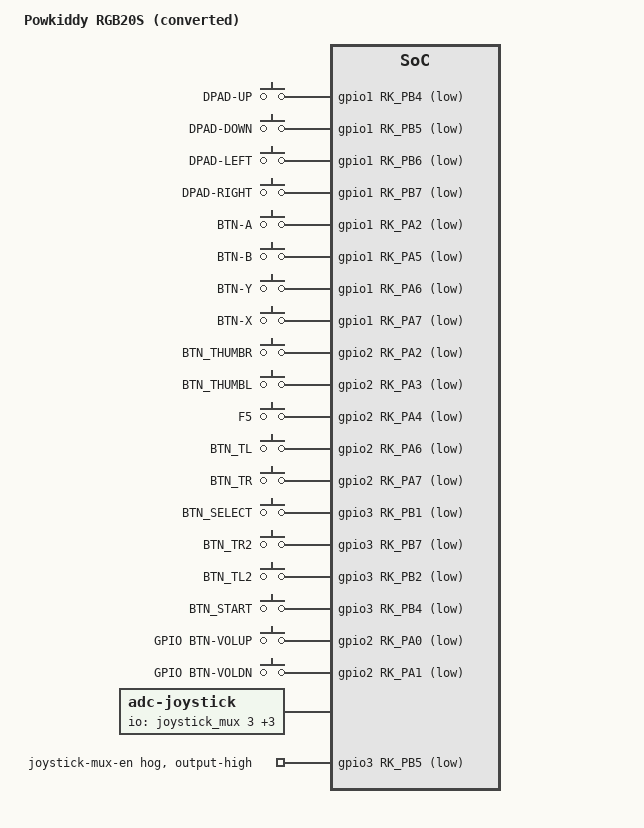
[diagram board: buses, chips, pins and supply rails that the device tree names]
// SPDX-License-Identifier: (GPL-2.0+ OR MIT)
/*
 * Powkiddy RGB20S , converted from a vendor RK3326 device tree by
 * `r36os dtb import` (boot-dtb-select D12). Do not edit: import again.
 * Source: arkos4clone/boot/dArkOS/consoles/rgb20s/rk3326-rgb20s-linux.dtb
 * SHA-256: 9d487e24bba08dfe40e08b0619bd8da37357f8ab2ad9b420f81f10fd776ead1a
 * Note: sticks: axes from the ROCKNIX joypad mapping, not measured
 * Note: speaker gain: source spk-volume 3 ignored, the native safe value is used
 */

#include "rk3326-r36s-v5.dts"

/ {
	model = "Powkiddy RGB20S  (converted)";

	lume-select {
		lume,id = "arkos4clone-rgb20s";
		lume,priority = <0>;
		/delete-property/ lume,default;
	};

	/delete-node/ gpio-keys;
	/delete-node/ volume-keys;

	gpio-keys {
		compatible = "gpio-keys";
		pinctrl-names = "default";
		pinctrl-0 = <&btn_pins>;

		button-dpad-up {
			gpios = <&gpio1 RK_PB4 GPIO_ACTIVE_LOW>;
			label = "DPAD-UP";
			linux,code = <0x220>;
		};

		button-dpad-down {
			gpios = <&gpio1 RK_PB5 GPIO_ACTIVE_LOW>;
			label = "DPAD-DOWN";
			linux,code = <0x221>;
		};

		button-dpad-left {
			gpios = <&gpio1 RK_PB6 GPIO_ACTIVE_LOW>;
			label = "DPAD-LEFT";
			linux,code = <0x222>;
		};

		button-dpad-right {
			gpios = <&gpio1 RK_PB7 GPIO_ACTIVE_LOW>;
			label = "DPAD-RIGHT";
			linux,code = <0x223>;
		};

		button-btn-a {
			gpios = <&gpio1 RK_PA2 GPIO_ACTIVE_LOW>;
			label = "BTN-A";
			linux,code = <0x131>;
		};

		button-btn-b {
			gpios = <&gpio1 RK_PA5 GPIO_ACTIVE_LOW>;
			label = "BTN-B";
			linux,code = <0x130>;
		};

		button-btn-y {
			gpios = <&gpio1 RK_PA6 GPIO_ACTIVE_LOW>;
			label = "BTN-Y";
			linux,code = <0x134>;
		};

		button-btn-x {
			gpios = <&gpio1 RK_PA7 GPIO_ACTIVE_LOW>;
			label = "BTN-X";
			linux,code = <0x133>;
		};

		button-btn-thumbr {
			gpios = <&gpio2 RK_PA2 GPIO_ACTIVE_LOW>;
			label = "BTN_THUMBR";
			linux,code = <0x2c2>;
		};

		button-btn-thumbl {
			gpios = <&gpio2 RK_PA3 GPIO_ACTIVE_LOW>;
			label = "BTN_THUMBL";
			linux,code = <0x2c3>;
		};

		button-f5 {
			gpios = <&gpio2 RK_PA4 GPIO_ACTIVE_LOW>;
			label = "F5";
			linux,code = <0x2c4>;
		};

		button-btn-tl {
			gpios = <&gpio2 RK_PA6 GPIO_ACTIVE_LOW>;
			label = "BTN_TL";
			linux,code = <0x136>;
		};

		button-btn-tr {
			gpios = <&gpio2 RK_PA7 GPIO_ACTIVE_LOW>;
			label = "BTN_TR";
			linux,code = <0x137>;
		};

		button-btn-select {
			gpios = <&gpio3 RK_PB1 GPIO_ACTIVE_LOW>;
			label = "BTN_SELECT";
			linux,code = <0x2c0>;
		};

		button-btn-tr2 {
			gpios = <&gpio3 RK_PB7 GPIO_ACTIVE_LOW>;
			label = "BTN_TR2";
			linux,code = <0x139>;
		};

		button-btn-tl2 {
			gpios = <&gpio3 RK_PB2 GPIO_ACTIVE_LOW>;
			label = "BTN_TL2";
			linux,code = <0x138>;
		};

		button-btn-start {
			gpios = <&gpio3 RK_PB4 GPIO_ACTIVE_LOW>;
			label = "BTN_START";
			linux,code = <0x2c1>;
		};
	};

	volume-keys {
		compatible = "gpio-keys";
		pinctrl-names = "default";
		pinctrl-0 = <&vol_pins>;
		autorepeat;

		button-gpio-btn-volup {
			gpios = <&gpio2 RK_PA0 GPIO_ACTIVE_LOW>;
			label = "GPIO BTN-VOLUP";
			linux,code = <0x73>;
		};

		button-gpio-btn-voldn {
			gpios = <&gpio2 RK_PA1 GPIO_ACTIVE_LOW>;
			label = "GPIO BTN-VOLDN";
			linux,code = <0x72>;
		};
	};

	/delete-node/ adc-joystick;

	adc-joystick {
		compatible = "adc-joystick";
		io-channels = <&joystick_mux 3>,
			      <&joystick_mux 1>,
			      <&joystick_mux 2>,
			      <&joystick_mux 0>;
		poll-interval = <10>;
		#address-cells = <1>;
		#size-cells = <0>;

		axis@0 {
			reg = <0>;
			abs-flat = <32>;
			abs-fuzz = <32>;
			abs-range = <0 1023>;
			linux,code = <ABS_RY>;
		};

		axis@1 {
			reg = <1>;
			abs-flat = <32>;
			abs-fuzz = <32>;
			abs-range = <0 1023>;
			linux,code = <ABS_RX>;
		};

		axis@2 {
			reg = <2>;
			abs-flat = <32>;
			abs-fuzz = <32>;
			abs-range = <1023 0>;
			linux,code = <ABS_Y>;
		};

		axis@3 {
			reg = <3>;
			abs-flat = <32>;
			abs-fuzz = <32>;
			abs-range = <1023 0>;
			linux,code = <ABS_X>;
		};
	};

	mux-controller {
		mux-gpios = <&gpio3 RK_PB3 GPIO_ACTIVE_LOW>,
			    <&gpio3 RK_PB0 GPIO_ACTIVE_LOW>;
	};

	adc-mux {
		io-channels = <&saradc 1>;
	};

	/delete-node/ gpio-leds;

	rk817-sound {
		simple-audio-card,hp-det-gpios = <&gpio2 RK_PC6 GPIO_ACTIVE_LOW>;
	};
};

&internal_display {
	compatible = "rocknix,generic-dsi";
	/delete-property/ vcc-supply;
	vdd-supply = <&vcc_lcd>;
	reset-gpios = <&gpio3 RK_PC0 GPIO_ACTIVE_LOW>;
	panel_description =
		"G size=52,70 delays=2,1,20,120,20 format=rgb888 lanes=4 flags=0xe03",
		"M clock=50000 horizontal=640,450,46,450 vertical=480,17,5,13 default=1",
		"I seq=ff30",
		"I seq=ff52",
		"I seq=ff01",
		"I seq=e300",
		"I seq=400a",
		"I seq=0340",
		"I seq=0400",
		"I seq=0503",
		"I seq=2412",
		"I seq=251e",
		"I seq=2628",
		"I seq=2752",
		"I seq=2857",
		"I seq=2901",
		"I seq=2adf",
		"I seq=389c",
		"I seq=39a7",
		"I seq=3a53",
		"I seq=4400",
		"I seq=493c",
		"I seq=59fe",
		"I seq=5c00",
		"I seq=9177",
		"I seq=9277",
		"I seq=a055",
		"I seq=a150",
		"I seq=a49c",
		"I seq=a702",
		"I seq=a801",
		"I seq=a901",
		"I seq=aafc",
		"I seq=ab28",
		"I seq=ac06",
		"I seq=ad06",
		"I seq=ae06",
		"I seq=af03",
		"I seq=b008",
		"I seq=b126",
		"I seq=b228",
		"I seq=b328",
		"I seq=b433",
		"I seq=b508",
		"I seq=b626",
		"I seq=b708",
		"I seq=b826",
		"I seq=ff30 # 2",
		"I seq=ff52 # 2",
		"I seq=ff02",
		"I seq=b00b",
		"I seq=b116",
		"I seq=b217",
		"I seq=b32c",
		"I seq=b432",
		"I seq=b53b",
		"I seq=b629",
		"I seq=b740",
		"I seq=b80d",
		"I seq=b905",
		"I seq=ba12",
		"I seq=bb10",
		"I seq=bc12",
		"I seq=bd15",
		"I seq=be19",
		"I seq=bf0e",
		"I seq=c016",
		"I seq=c10a",
		"I seq=d00c",
		"I seq=d117",
		"I seq=d214",
		"I seq=d32e",
		"I seq=d432",
		"I seq=d53c",
		"I seq=d622",
		"I seq=d73d",
		"I seq=d80d",
		"I seq=d907",
		"I seq=da13",
		"I seq=db13",
		"I seq=dc11",
		"I seq=dd15",
		"I seq=de19",
		"I seq=df10",
		"I seq=e017",
		"I seq=e10a",
		"I seq=ff30 # 3",
		"I seq=ff52 # 3",
		"I seq=ff03",
		"I seq=002a",
		"I seq=012a",
		"I seq=022a",
		"I seq=032a",
		"I seq=0461",
		"I seq=0580",
		"I seq=06c7",
		"I seq=0701",
		"I seq=0882",
		"I seq=0983",
		"I seq=302a",
		"I seq=312a",
		"I seq=322a",
		"I seq=332a",
		"I seq=3461",
		"I seq=35c5",
		"I seq=3680",
		"I seq=3723",
		"I seq=4082",
		"I seq=4183",
		"I seq=4280",
		"I seq=4381",
		"I seq=4411",
		"I seq=45e6",
		"I seq=46e5",
		"I seq=4711",
		"I seq=48e8",
		"I seq=49e7",
		"I seq=5002",
		"I seq=5101",
		"I seq=5204",
		"I seq=5303",
		"I seq=5411",
		"I seq=55ea",
		"I seq=56e9",
		"I seq=5711",
		"I seq=58ec",
		"I seq=59eb",
		"I seq=7e02",
		"I seq=7f80",
		"I seq=e05a",
		"I seq=b100",
		"I seq=b40e",
		"I seq=b50f",
		"I seq=b604",
		"I seq=b707",
		"I seq=b806",
		"I seq=b905 # 2",
		"I seq=ba0f",
		"I seq=c700",
		"I seq=ca0e",
		"I seq=cb0f",
		"I seq=cc04",
		"I seq=cd07",
		"I seq=ce06",
		"I seq=cf05",
		"I seq=d00f",
		"I seq=810f",
		"I seq=840e",
		"I seq=850f",
		"I seq=8607",
		"I seq=8704",
		"I seq=8805",
		"I seq=8906",
		"I seq=8a00",
		"I seq=970f",
		"I seq=9a0e",
		"I seq=9b0f",
		"I seq=9c07",
		"I seq=9d04",
		"I seq=9e05",
		"I seq=9f06",
		"I seq=a000",
		"I seq=ff30 # 4",
		"I seq=ff52 # 4",
		"I seq=ff02 # 2",
		"I seq=0101",
		"I seq=02da",
		"I seq=03ba",
		"I seq=04a8",
		"I seq=059a",
		"I seq=0670",
		"I seq=07ff",
		"I seq=0891",
		"I seq=0990",
		"I seq=0aff",
		"I seq=0b8f",
		"I seq=0c60",
		"I seq=0d58",
		"I seq=0e48",
		"I seq=0f38",
		"I seq=102b",
		"I seq=ff30 # 5",
		"I seq=ff52 # 5",
		"I seq=ff00",
		"I seq=3602",
		"I seq=3a70",
		"I seq=11 wait=c8",
		"I seq=29 wait=a";
};

&dsi {
	rockchip,lane-rate = <333>;
};

&backlight {
	pwms = <&pwm1 0 40000 0>;
	/delete-property/ num-interpolated-steps;
	brightness-levels = <0 1 2 3 4 5 6 7 8 9 10 11 12 13 14 15 16 17 18 19 20 21 22 23 24 25 26 27 28 29 30 31 32 33 34 35 36 37 38 39 40 41 42 43 44 45 46 47 48 49 50 51 52 53 54 55 56 57 58 59 60 61 62 63 64 65 66 67 68 69 70 71 72 73 74 75 76 77 78 79 80 81 82 83 84 85 86 87 88 89 90 91 92 93 94 95 96 97 98 99 100 101 102 103 104 105 106 107 108 109 110 111 112 113 114 115 116 117 118 119 120 121 122 123 124 125 126 127 128 129 130 131 132 133 134 135 136 137 138 139 140 141 142 143 144 145 146 147 148 149 150 151 152 153 154 155 156 157 158 159 160>;
	default-brightness-level = <80>;
};

&battery {
	charge-full-design-microamp-hours = <3380000>;
	voltage-max-design-microvolt = <4045000>;
	voltage-min-design-microvolt = <3165000>;
	ocv-capacity-table-0 = <4045000 100>,
				<4020000 95>,
				<3990000 90>,
				<3950000 85>,
				<3910000 80>,
				<3870000 75>,
				<3830000 70>,
				<3790000 65>,
				<3750000 60>,
				<3710000 55>,
				<3670000 50>,
				<3630000 45>,
				<3580000 40>,
				<3530000 35>,
				<3480000 30>,
				<3430000 25>,
				<3380000 20>,
				<3330000 15>,
				<3280000 10>,
				<3220000 5>,
				<3165000 0>;
};

&spk_amp {
	/delete-property/ enable-gpios;
	/delete-property/ pinctrl-names;
	/delete-property/ pinctrl-0;
};

&rk817 {
	interrupt-parent = <&gpio0>;
	interrupts = <RK_PB2 IRQ_TYPE_LEVEL_LOW>;
};

&gpio0 {
	/delete-node/ joystick-mux-en-hog;
};

&gpio1 {
	/delete-node/ lcd-enable-hog;
};

&gpio3 {
	/delete-node/ lcd-stbyb-hog;
	joystick-mux-en-hog {
		gpio-hog;
		gpios = <RK_PB5 GPIO_ACTIVE_LOW>;
		output-high;
		line-name = "joystick-mux-en";
	};
};

&btn_pins {
	rockchip,pins =
		<1 RK_PB4 RK_FUNC_GPIO &pcfg_pull_up>,
		<1 RK_PB5 RK_FUNC_GPIO &pcfg_pull_up>,
		<1 RK_PB6 RK_FUNC_GPIO &pcfg_pull_up>,
		<1 RK_PB7 RK_FUNC_GPIO &pcfg_pull_up>,
		<1 RK_PA2 RK_FUNC_GPIO &pcfg_pull_up>,
		<1 RK_PA5 RK_FUNC_GPIO &pcfg_pull_up>,
		<1 RK_PA6 RK_FUNC_GPIO &pcfg_pull_up>,
		<1 RK_PA7 RK_FUNC_GPIO &pcfg_pull_up>,
		<2 RK_PA2 RK_FUNC_GPIO &pcfg_pull_up>,
		<2 RK_PA3 RK_FUNC_GPIO &pcfg_pull_up>,
		<2 RK_PA4 RK_FUNC_GPIO &pcfg_pull_up>,
		<2 RK_PA6 RK_FUNC_GPIO &pcfg_pull_up>,
		<2 RK_PA7 RK_FUNC_GPIO &pcfg_pull_up>,
		<3 RK_PB1 RK_FUNC_GPIO &pcfg_pull_up>,
		<3 RK_PB7 RK_FUNC_GPIO &pcfg_pull_up>,
		<3 RK_PB2 RK_FUNC_GPIO &pcfg_pull_up>,
		<3 RK_PB4 RK_FUNC_GPIO &pcfg_pull_up>;
};

&vol_pins {
	rockchip,pins =
		<2 RK_PA0 RK_FUNC_GPIO &pcfg_pull_up>,
		<2 RK_PA1 RK_FUNC_GPIO &pcfg_pull_up>;
};

&hp_det {
	rockchip,pins = <2 RK_PC6 RK_FUNC_GPIO &pcfg_pull_none>;
};

&pmic_int {
	rockchip,pins = <0 RK_PB2 RK_FUNC_GPIO &pcfg_pull_up>;
};
